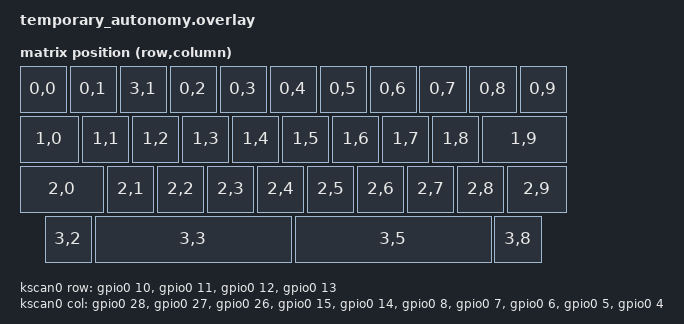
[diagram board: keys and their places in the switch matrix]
#include <dt-bindings/zmk/matrix_transform.h>
#include <physical_layouts.dtsi>

&xiao_serial {
    status = "disabled";
};

/ {
  chosen {
    zmk,physical-layout = &physical_layout0;
  };

  kscan0: kscan {
    compatible = "zmk,kscan-gpio-matrix";
    diode-direction = "col2row";
    
    row-gpios = <&gpio0 10 (GPIO_ACTIVE_HIGH | GPIO_PULL_DOWN)>,
                <&gpio0 11 (GPIO_ACTIVE_HIGH | GPIO_PULL_DOWN)>,
                <&gpio0 12 (GPIO_ACTIVE_HIGH | GPIO_PULL_DOWN)>,
                <&gpio0 13 (GPIO_ACTIVE_HIGH | GPIO_PULL_DOWN)>;
    
    col-gpios = <&gpio0 28 (GPIO_ACTIVE_HIGH)>,
                <&gpio0 27 (GPIO_ACTIVE_HIGH)>,
                <&gpio0 26 (GPIO_ACTIVE_HIGH)>,
                <&gpio0 15 (GPIO_ACTIVE_HIGH)>,
                <&gpio0 14 (GPIO_ACTIVE_HIGH)>,
                <&gpio0 8 (GPIO_ACTIVE_HIGH)>,
                <&gpio0 7 (GPIO_ACTIVE_HIGH)>,
                <&gpio0 6 (GPIO_ACTIVE_HIGH)>,
                <&gpio0 5 (GPIO_ACTIVE_HIGH)>,
                <&gpio0 4 (GPIO_ACTIVE_HIGH)>;
  };
  
  default_transform: keymap_transform0 {
    compatible = "zmk,matrix-transform";
    rows = <4>;
    columns = <10>;
    
    map = <
      RC(0,0) RC(0,1) RC(3,1) RC(0,2) RC(0,3) RC(0,4) RC(0,5) RC(0,6) RC(0,7) RC(0,8) RC(0,9)
          RC(1,0) RC(1,1) RC(1,2) RC(1,3) RC(1,4) RC(1,5) RC(1,6) RC(1,7) RC(1,8) RC(1,9)
          RC(2,0) RC(2,1) RC(2,2) RC(2,3) RC(2,4) RC(2,5) RC(2,6) RC(2,7) RC(2,8) RC(2,9)
                         RC(3,2)     RC(3,3)     RC(3,5)       RC(3,8)
    >;
  };

  physical_layout0: physical_layout_0 {
    compatible = "zmk,physical-layout";
    display-name = "Default Layout";
    kscan = <&kscan0>;
    transform = <&default_transform>;
    keys  //                     w   h    x    y     rot    rx    ry
        = <&key_physical_attrs 100 100    0      0      0     0     0>
        , <&key_physical_attrs 100 100    100    0      0     0     0>
        , <&key_physical_attrs 100 100    200    0      0     0     0>
        , <&key_physical_attrs 100 100    300    0      0     0     0>
        , <&key_physical_attrs 100 100    400    0      0     0     0>
        , <&key_physical_attrs 100 100    500    0      0     0     0>
        , <&key_physical_attrs 100 100    600    0      0     0     0>
        , <&key_physical_attrs 100 100    700    0      0     0     0>
        , <&key_physical_attrs 100 100    800    0      0     0     0>
        , <&key_physical_attrs 100 100    900    0      0     0     0>
        , <&key_physical_attrs 100 100    1000   0      0     0     0>

        , <&key_physical_attrs 125 100    0      100      0     0     0>
        , <&key_physical_attrs 100 100    125    100      0     0     0>
        , <&key_physical_attrs 100 100    225    100      0     0     0>
        , <&key_physical_attrs 100 100    325    100      0     0     0>
        , <&key_physical_attrs 100 100    425    100      0     0     0>
        , <&key_physical_attrs 100 100    525    100      0     0     0>
        , <&key_physical_attrs 100 100    625    100      0     0     0>
        , <&key_physical_attrs 100 100    725    100      0     0     0>
        , <&key_physical_attrs 100 100    825    100      0     0     0>
        , <&key_physical_attrs 175 100    925    100      0     0     0>
        
        , <&key_physical_attrs 175 100    0      200      0     0     0>
        , <&key_physical_attrs 100 100    175    200      0     0     0>
        , <&key_physical_attrs 100 100    275    200      0     0     0>
        , <&key_physical_attrs 100 100    375    200      0     0     0>
        , <&key_physical_attrs 100 100    475    200      0     0     0>
        , <&key_physical_attrs 100 100    575    200      0     0     0>
        , <&key_physical_attrs 100 100    675    200      0     0     0>
        , <&key_physical_attrs 100 100    775    200      0     0     0>
        , <&key_physical_attrs 100 100    875    200      0     0     0>
        , <&key_physical_attrs 125 100    975    200      0     0     0>
        
        , <&key_physical_attrs 100 100    50    300      0     0     0>
        , <&key_physical_attrs 400 100    150   300      0     0     0>
        , <&key_physical_attrs 400 100    550   300      0     0     0>
        , <&key_physical_attrs 100 100    950   300      0     0     0>
        ;
  };
};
